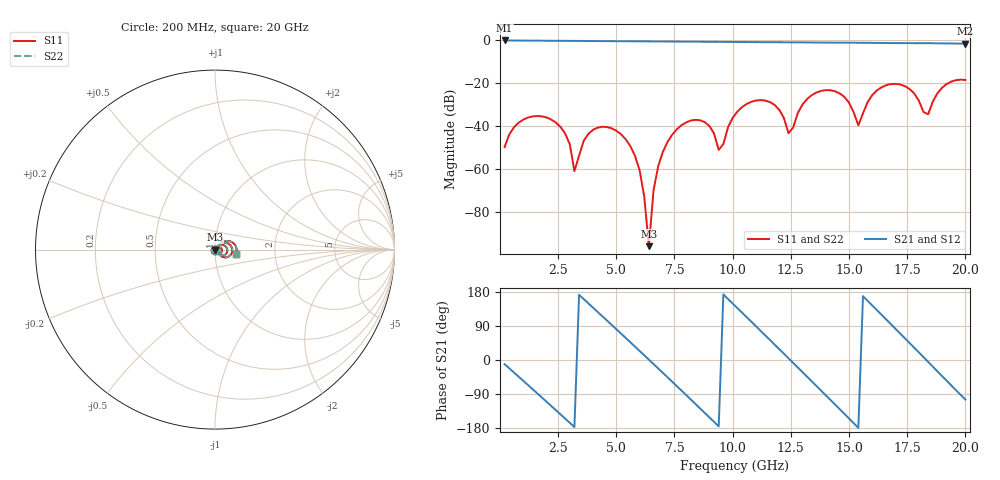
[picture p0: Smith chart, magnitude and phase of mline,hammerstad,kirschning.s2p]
# HZ S RI R 50
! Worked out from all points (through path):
!   100 points, 200 MHz to 20 GHz, reference 50 ohm
!   highest |S21| = -0.02 dB at 200 MHz (marker M1); lowest = -1.5 dB at 20 GHz (marker M2)
!   group delay of S21, straight-line fit = 165 ps
!   lowest |S11| = -96.0 dB at 6.4 GHz (marker M3), VSWR 1.00, Z = 50 - j0.000416 ohm
!   |S11| at or under -10 dB: start of sweep to end of sweep
!   |S22| runs from -96.0 to -18.3 dB; largest |S21 - S12| = 0
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2e8  -0.00065 -0.00318  0.9798 -0.1894  0.9798 -0.1894  -0.00065 -0.00318
1.8e9  -0.0167 0.00258  -0.153 -0.9725  -0.153 -0.9725  -0.0167 0.00258
2.8e9  -0.00321 0.00595  -0.8816 -0.4201  -0.8816 -0.4201  -0.00321 0.00595
3.2e9  -0.000441 0.000776  -0.9719 -0.0526  -0.9719 -0.0526  -0.000441 0.000776
3.6e9  -0.00187 -0.00413  -0.9153 0.3217  -0.9153 0.3217  -0.00187 -0.00413
4.6e9  -0.00926 -0.00223  -0.2343 0.9333  -0.2343 0.9333  -0.00926 -0.00223
5.4e9  -0.0043 0.00248  0.5003 0.8148  0.5003 0.8148  -0.0043 0.00248
6.4e9  1.53e-05 -4.16e-06  0.9483 0.0145  0.9483 0.0145  1.53e-05 -4.16e-06
6.8e9  0.000585 0.00101  0.8746 -0.3589  0.8746 -0.3589  0.000585 0.00101
8.2e9  0.0131 -0.00308  -0.2289 -0.9062  -0.2289 -0.9062  0.0131 -0.00308
9.4e9  0.00204 -0.00189  -0.9225 -0.078  -0.9225 -0.078  0.00204 -0.00189
1.02e10  0.0162 0.0146  -0.6737 0.6259  -0.6737 0.6259  0.0162 0.0146
1.1e10  0.0396 -0.000552  0.014 0.9131  0.014 0.9131  0.0396 -0.000552
1.2e10  0.0152 -0.0188  0.7943 0.4364  0.7943 0.4364  0.0152 -0.0188
1.24e10  0.00569 -0.00376  0.9008 0.071  0.9008 0.071  0.00569 -0.00376
1.34e10  0.0461 0.026  0.4949 -0.7459  0.4949 -0.7459  0.0461 0.026
1.42e10  0.0668 -0.016  -0.2342 -0.857  -0.2342 -0.857  0.0668 -0.016
1.52e10  0.0137 -0.0159  -0.8595 -0.203  -0.8595 -0.203  0.0137 -0.0159
1.54e10  0.0104 -0.00117  -0.8818 -0.0143  -0.8818 -0.0143  0.0104 -0.00117
1.68e10  0.0955 0.00635  -0.0666 0.8654  -0.0666 0.8654  0.0955 0.00635
1.84e10  0.0171 0.0081  0.8572 -0.0746  0.8572 -0.0746  0.0171 0.0081
2e10  0.1167 -0.0253  -0.2134 -0.8159  -0.2134 -0.8159  0.1167 -0.0253
